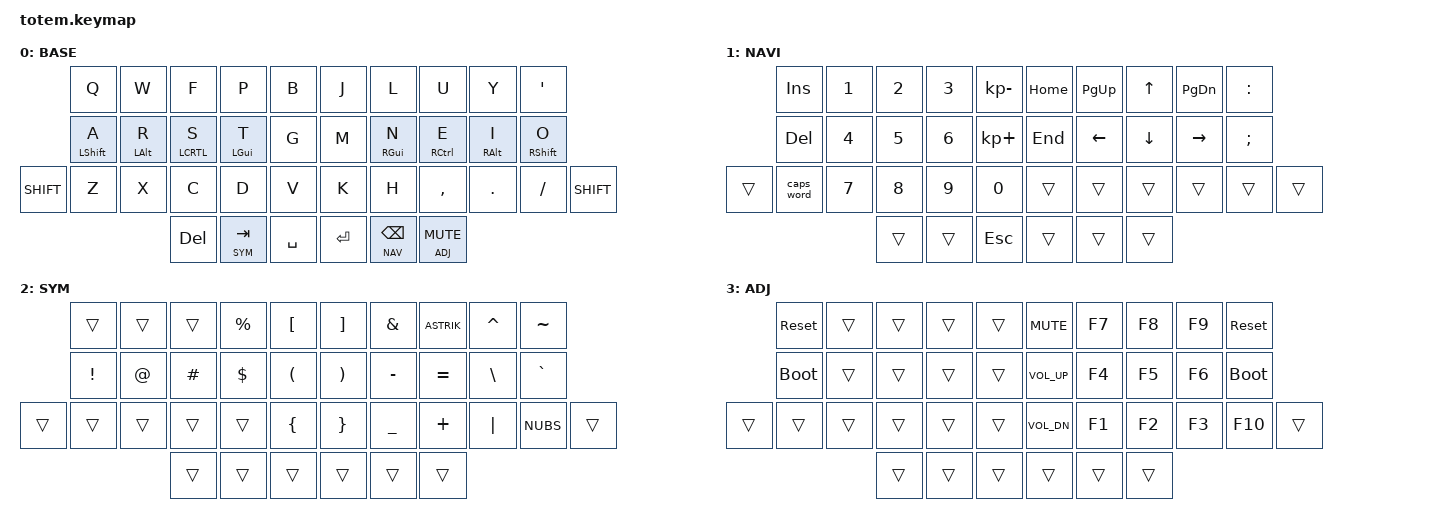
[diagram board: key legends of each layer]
/*
 * Copyright (c) 2023 The ZMK Contributors
 *
 * SPDX-License-Identifier: MIT
 */
//
//                                                        ▀▀▀▀▀     ▀▀▀▀▀          ▀▀█▀▀
//                                                        ▄▀▀▀▄  ▄  ▄▀▀▀▄  ▄  ▄▀▀▀▄  █  ▄▀▀▀▄
//                                                        █   █  █  █   █  █  █   █  █  █   █
//                                                         ▀▀▀   █   ▀▀▀   █   ▀▀▀   ▀   ▀▀▀
//                                                               █      ▄▄▄█▄▄▄    █   █  
//                                                               ▀      █  █  █     █▄█
//                                                             ▀▀▀▀▀    █  █  █      ▀
//                                                                      ▀  ▀  ▀
//
// ▄▄▄▄▄▄▄▄▄▄▄▄▄▄▄▄▄▄▄▄▄▄▄▄▄▄▄▄▄▄▄▄▄▄▄▄▄▄▄▄▄▄▄▄▄▄▄▄▄▄▄▄▄▄▄▄▄▄▄▄▄▄▄▄▄▄▄▄▄▄▄▄▄▄▄▄▄▄▄▄▄▄▄▄▄▄▄▄▄▄▄▄▄▄▄▄▄▄▄▄▄▄▄▄▄▄▄▄▄▄▄▄▄▄▄▄▄▄▄▄▄▄▄▄▄▄▄▄▄▄▄▄▄▄▄▄▄▄▄▄▄▄▄▄▄▄▄▄▄
       
// This is the template, you don't need to change this

#include <behaviors.dtsi>
#include <dt-bindings/zmk/keys.h>
#include <dt-bindings/zmk/bt.h>
#include <dt-bindings/zmk/outputs.h>

#define BASE 0
#define NAV  1
#define SYM  2
#define ADJ  3

&mt {
    quick-tap-ms = <100>;
    global-quick-tap;
    flavor = "tap-preferred";
    tapping-term-ms = <170>;
};

/ {
    /* ===================== COMBOS ===================== */
    combos {
        compatible = "zmk,combos";

        combo_esc {
            timeout-ms = <50>;
            key-positions = <0 1>;
            bindings = <&kp ESC>;
        };

        combo_undo {
            timeout-ms = <50>;
            key-positions = <21 22>;
            bindings = <&kp LC(Z)>;
        };
        combo_copy {
            timeout-ms = <50>;
            key-positions = <22 23>;
            bindings = <&kp LC(C)>;
        };
        combo_paste {
            timeout-ms = <50>;
            key-positions = <23 24>;
            bindings = <&kp LC(V)>;
        };
        combo_cut {
            timeout-ms = <50>;
            key-positions = <22 24>;
            bindings = <&kp LC(X)>;
        };
    };

    /* ===================== BEHAVIORS ===================== */
    behaviors {
        hm: homerow_mods {
            compatible = "zmk,behavior-hold-tap";
            #binding-cells = <2>;
            tapping-term-ms = <200>;
            flavor = "tap-preferred";
            bindings = <&kp>, <&kp>;
        };

        hs: homerow_shift {
            compatible = "zmk,behavior-hold-tap";
            #binding-cells = <2>;
            tapping-term-ms = <175>;
            flavor = "balanced";
            bindings = <&kp>, <&kp>;
        };
    };


        keymap {
                compatible = "zmk,keymap";
// ▄▄▄▄▄▄▄▄▄▄▄▄▄▄▄▄▄▄▄▄▄▄▄▄▄▄▄▄▄▄▄▄▄▄▄▄▄▄▄▄▄▄▄▄▄▄▄▄▄▄▄▄▄▄▄▄▄▄▄▄▄▄▄▄▄▄▄▄▄▄▄▄▄▄▄▄▄▄▄▄▄▄▄▄▄▄▄▄▄▄▄▄▄▄▄▄▄▄▄▄▄▄▄▄▄▄▄▄▄▄▄▄▄▄▄▄▄▄▄▄▄▄▄▄▄▄▄▄▄▄▄▄▄▄▄▄▄▄▄▄▄▄▄▄▄▄▄▄▄

                base_layer {
// ┏━━━━━━━━━━━━━━━━━━━━━━━━━━━━━━━━━━━━━━━┓
label= "BASE"                              ;
// ┗━━━━━━━━━━━━━━━━━━━━━━━━━━━━━━━━━━━━━━━┛
//             ┏━━━━━━━━━━━┳━━━━━━━━━━━┳━━━━━━━━━━━┳━━━━━━━━━━━┳━━━━━━━━━━━┓   ┏━━━━━━━━━━━┳━━━━━━━━━━━┳━━━━━━━━━━━┳━━━━━━━━━━━┳━━━━━━━━━━━┓
//             ┃     Q     ┃     W     ┃     F     ┃     P     ┃     G     ┃   ┃     J     ┃     L     ┃     U     ┃     Y     ┃     ;     ┃
//             ┣━━━━━━━━━━━╋━━━━━━━━━━━╋━━━━━━━━━━━╋━━━━━━━━━━━╋━━━━━━━━━━━┫   ┣━━━━━━━━━━━╋━━━━━━━━━━━╋━━━━━━━━━━━╋━━━━━━━━━━━╋━━━━━━━━━━━┫
//             ┃     A     ┃     R     ┃     S     ┃     T     ┃     D     ┃   ┃     H     ┃     N     ┃     E     ┃     I     ┃     O     ┃
// ┏━━━━━━━━━━━╋━━━━━━━━━━━╋━━━━━━━━━━━╋━━━━━━━━━━━╋━━━━━━━━━━━╋━━━━━━━━━━━┫   ┣━━━━━━━━━━━╋━━━━━━━━━━━╋━━━━━━━━━━━╋━━━━━━━━━━━╋━━━━━━━━━━━╋━━━━━━━━━━━┓
// ┃     Q     ┃     Z     ┃     X     ┃     C     ┃     V     ┃     B     ┃   ┃     K     ┃     M     ┃     ,     ┃     .     ┃     /     ┃           ┃
// ┗━━━━━━━━━━━┻━━━━━━━━━━━┻━━━━━━━━━━━╋━━━━━━━━━━━╋━━━━━━━━━━━╋━━━━━━━━━━━┫   ┣━━━━━━━━━━━╋━━━━━━━━━━━╋━━━━━━━━━━━╋━━━━━━━━━━━┻━━━━━━━━━━━┻━━━━━━━━━━━┛
//                                     ┃           ┃    TAB    ┃    SPC    ┃   ┃   ENTER   ┃   BSPC    ┃           ┃
//                                     ┗━━━━━━━━━━━┻━━━━━━━━━━━┻━━━━━━━━━━━┛   ┗━━━━━━━━━━━┻━━━━━━━━━━━┻━━━━━━━━━━━┛
 bindings = <
// ╷           ╷           ╷           ╷           ╷           ╷           ╷   ╷           ╷           ╷           ╷           ╷           ╷           ╷

                &kp Q        &kp W       &kp F       &kp P      &kp B           &kp J       &kp L       &kp U       &kp Y       &kp SQT
                &hs LSHIFT A &hm LALT R  &hm LCRTL S &hm LGUI T  &kp G           &kp M       &hm RGUI N  &hm RCTRL E &hm RALT I  &hs RSHIFT O
    &kp SHIFT   &kp Z        &kp X       &kp C       &kp D       &kp V           &kp K      &kp H       &kp COMMA   &kp DOT     &kp FSLH    &kp SHIFT
                                         &kp DEL &lt SYM TAB     &kp SPACE       &kp RET     &lt NAV BSPC    &lt ADJ C_MUTE
                        >;
                };

// ▄▄▄▄▄▄▄▄▄▄▄▄▄▄▄▄▄▄▄▄▄▄▄▄▄▄▄▄▄▄▄▄▄▄▄▄▄▄▄▄▄▄▄▄▄▄▄▄▄▄▄▄▄▄▄▄▄▄▄▄▄▄▄▄▄▄▄▄▄▄▄▄▄▄▄▄▄▄▄▄▄▄▄▄▄▄▄▄▄▄▄▄▄▄▄▄▄▄▄▄▄▄▄▄▄▄▄▄▄▄▄▄▄▄▄▄▄▄▄▄▄▄▄▄▄▄▄▄▄▄▄▄▄▄▄▄▄▄▄▄▄▄▄▄▄▄▄▄▄


                nav_layer {
// ┏━━━━━━━━━━━━━━━━━━━━━━━━━━━━━━━━━━━━━━━┓
label= "NAVI"                              ;
// ┗━━━━━━━━━━━━━━━━━━━━━━━━━━━━━━━━━━━━━━━┛
//             ┏━━━━━━━━━━━┳━━━━━━━━━━━┳━━━━━━━━━━━┳━━━━━━━━━━━┳━━━━━━━━━━━┓   ┏━━━━━━━━━━━┳━━━━━━━━━━━┳━━━━━━━━━━━┳━━━━━━━━━━━┳━━━━━━━━━━━┓
//             ┃           ┃           ┃     UP    ┃           ┃     {     ┃   ┃     }     ┃     7     ┃     8     ┃     9     ┃     +     ┃
//             ┣━━━━━━━━━━━╋━━━━━━━━━━━╋━━━━━━━━━━━╋━━━━━━━━━━━╋━━━━━━━━━━━┫   ┣━━━━━━━━━━━╋━━━━━━━━━━━╋━━━━━━━━━━━╋━━━━━━━━━━━╋━━━━━━━━━━━┫
//             ┃   SHIFT   ┃   LEFT    ┃    DOWN   ┃   RIGHT   ┃     [     ┃   ┃     ]     ┃     4     ┃     5     ┃     6     ┃     -     ┃
// ┏━━━━━━━━━━━╋━━━━━━━━━━━╋━━━━━━━━━━━╋━━━━━━━━━━━╋━━━━━━━━━━━╋━━━━━━━━━━━┫   ┣━━━━━━━━━━━╋━━━━━━━━━━━╋━━━━━━━━━━━╋━━━━━━━━━━━╋━━━━━━━━━━━╋━━━━━━━━━━━┓
// ┃           ┃           ┃   P UP    ┃  C LOCK   ┃  P DOWN   ┃     (     ┃   ┃     )     ┃     1     ┃     2     ┃     3     ┃     *     ┃           ┃
// ┗━━━━━━━━━━━┻━━━━━━━━━━━┻━━━━━━━━━━━╋━━━━━━━━━━━╋━━━━━━━━━━━╋━━━━━━━━━━━┫   ┣━━━━━━━━━━━╋━━━━━━━━━━━╋━━━━━━━━━━━╋━━━━━━━━━━━┻━━━━━━━━━━━┻━━━━━━━━━━━┛
//                                     ┃           ┃    TAB    ┃    SPC    ┃   ┃    DEL    ┃     0     ┃           ┃
//                                     ┗━━━━━━━━━━━┻━━━━━━━━━━━┻━━━━━━━━━━━┛   ┗━━━━━━━━━━━┻━━━━━━━━━━━┻━━━━━━━━━━━┛
 bindings = <
// ╷           ╷           ╷           ╷           ╷           ╷           ╷   ╷           ╷           ╷           ╷           ╷           ╷           ╷

                &kp INSERT  &kp N1  &kp N2    &kp N3   &kp KP_MINUS    &kp HOME    &kp PG_UP   &kp UP      &kp PG_DN   &kp COLON
                &kp DELETE  &kp N4  &kp N5    &kp N6   &kp KP_PLUS     &kp END     &kp LEFT    &kp DOWN    &kp RIGHT   &kp SEMI
    &trans      &caps_word  &kp N7  &kp N8    &kp N9   &kp N0       &trans      &trans      &trans      &trans      &trans     &trans      
                                       &trans      &trans      &kp ESC         &trans      &trans      &trans      
                        >;
                };

// ▄▄▄▄▄▄▄▄▄▄▄▄▄▄▄▄▄▄▄▄▄▄▄▄▄▄▄▄▄▄▄▄▄▄▄▄▄▄▄▄▄▄▄▄▄▄▄▄▄▄▄▄▄▄▄▄▄▄▄▄▄▄▄▄▄▄▄▄▄▄▄▄▄▄▄▄▄▄▄▄▄▄▄▄▄▄▄▄▄▄▄▄▄▄▄▄▄▄▄▄▄▄▄▄▄▄▄▄▄▄▄▄▄▄▄▄▄▄▄▄▄▄▄▄▄▄▄▄▄▄▄▄▄▄▄▄▄▄▄▄▄▄▄▄▄▄▄▄▄


                sim_layer {
// ┏━━━━━━━━━━━━━━━━━━━━━━━━━━━━━━━━━━━━━━━┓
label= "SYM"                               ;
// ┗━━━━━━━━━━━━━━━━━━━━━━━━━━━━━━━━━━━━━━━┛
//             ┏━━━━━━━━━━━┳━━━━━━━━━━━┳━━━━━━━━━━━┳━━━━━━━━━━━┳━━━━━━━━━━━┓   ┏━━━━━━━━━━━┳━━━━━━━━━━━┳━━━━━━━━━━━┳━━━━━━━━━━━┳━━━━━━━━━━━┓
//             ┃     !     ┃     @     ┃     #     ┃     $     ┃     %     ┃   ┃     ˆ     ┃     &     ┃     Ü     ┃     '     ┃     "     ┃
//             ┣━━━━━━━━━━━╋━━━━━━━━━━━╋━━━━━━━━━━━╋━━━━━━━━━━━╋━━━━━━━━━━━┫   ┣━━━━━━━━━━━╋━━━━━━━━━━━╋━━━━━━━━━━━╋━━━━━━━━━━━╋━━━━━━━━━━━┫
//             ┃     Ä     ┃           ┃    SZ     ┃           ┃           ┃   ┃   MUTE    ┃   YEN     ┃   EURO    ┃  POUND    ┃     Ö     ┃
// ┏━━━━━━━━━━━╋━━━━━━━━━━━╋━━━━━━━━━━━╋━━━━━━━━━━━╋━━━━━━━━━━━╋━━━━━━━━━━━┫   ┣━━━━━━━━━━━╋━━━━━━━━━━━╋━━━━━━━━━━━╋━━━━━━━━━━━╋━━━━━━━━━━━╋━━━━━━━━━━━┓
// ┃           ┃  EMAIL1   ┃  EMAIL2   ┃           ┃           ┃           ┃   ┃   VOL-    ┃   VOL+    ┃   LAST    ┃   NEXT    ┃     \     ┃           ┃
// ┗━━━━━━━━━━━┻━━━━━━━━━━━┻━━━━━━━━━━━╋━━━━━━━━━━━╋━━━━━━━━━━━╋━━━━━━━━━━━┫   ┣━━━━━━━━━━━╋━━━━━━━━━━━╋━━━━━━━━━━━╋━━━━━━━━━━━┻━━━━━━━━━━━┻━━━━━━━━━━━┛
//                                     ┃           ┃    GIF    ┃    ADJ    ┃   ┃           ┃           ┃           ┃
//                                     ┗━━━━━━━━━━━┻━━━━━━━━━━━┻━━━━━━━━━━━┛   ┗━━━━━━━━━━━┻━━━━━━━━━━━┻━━━━━━━━━━━┛
 bindings = <
// ╷           ╷           ╷           ╷           ╷           ╷           ╷   ╷           ╷           ╷           ╷           ╷           ╷           ╷

                &trans      &trans    &trans   &kp PRCNT  &kp LBKT       &kp RBKT   &kp AMPS  &kp ASTRIK &kp CARET &kp TILDE       
                &kp EXCL    &kp AT    &kp HASH &kp DLLR   &kp LPAR       &kp RPAR   &kp MINUS &kp EQUAL  &kp BSLH  &kp GRAVE 
    &trans      &trans      &trans    &trans   &trans     &kp LBRC       &kp RBRC   &kp UNDER &kp PLUS   &kp PIPE  &kp NUBS    &trans         
                                      &trans   &trans     &trans         &trans     &trans  &trans      
                        >;
                };

// ▄▄▄▄▄▄▄▄▄▄▄▄▄▄▄▄▄▄▄▄▄▄▄▄▄▄▄▄▄▄▄▄▄▄▄▄▄▄▄▄▄▄▄▄▄▄▄▄▄▄▄▄▄▄▄▄▄▄▄▄▄▄▄▄▄▄▄▄▄▄▄▄▄▄▄▄▄▄▄▄▄▄▄▄▄▄▄▄▄▄▄▄▄▄▄▄▄▄▄▄▄▄▄▄▄▄▄▄▄▄▄▄▄▄▄▄▄▄▄▄▄▄▄▄▄▄▄▄▄▄▄▄▄▄▄▄▄▄▄▄▄▄▄▄▄▄▄▄▄


                adjust_layer {
// ┏━━━━━━━━━━━━━━━━━━━━━━━━━━━━━━━━━━━━━━━┓
label= "ADJ"                               ;
// ┗━━━━━━━━━━━━━━━━━━━━━━━━━━━━━━━━━━━━━━━┛
//             ┏━━━━━━━━━━━┳━━━━━━━━━━━┳━━━━━━━━━━━┳━━━━━━━━━━━┳━━━━━━━━━━━┓   ┏━━━━━━━━━━━┳━━━━━━━━━━━┳━━━━━━━━━━━┳━━━━━━━━━━━┳━━━━━━━━━━━┓
//             ┃   RESET   ┃ BT CLEAR  ┃  OUT TOG  ┃           ┃           ┃   ┃           ┃    F7     ┃    F8     ┃    F9     ┃    F12    ┃
//             ┣━━━━━━━━━━━╋━━━━━━━━━━━╋━━━━━━━━━━━╋━━━━━━━━━━━╋━━━━━━━━━━━┫   ┣━━━━━━━━━━━╋━━━━━━━━━━━╋━━━━━━━━━━━╋━━━━━━━━━━━╋━━━━━━━━━━━┫
//             ┃ BOOTLOAD  ┃ BT NEXT   ┃           ┃           ┃           ┃   ┃           ┃    F4     ┃    F5     ┃    F6     ┃    F11    ┃
// ┏━━━━━━━━━━━╋━━━━━━━━━━━╋━━━━━━━━━━━╋━━━━━━━━━━━╋━━━━━━━━━━━╋━━━━━━━━━━━┫   ┣━━━━━━━━━━━╋━━━━━━━━━━━╋━━━━━━━━━━━╋━━━━━━━━━━━╋━━━━━━━━━━━╋━━━━━━━━━━━┓
// ┃           ┃           ┃ BT PREV   ┃           ┃           ┃           ┃   ┃           ┃    F1     ┃    F2     ┃    F3     ┃    F10    ┃           ┃
// ┗━━━━━━━━━━━┻━━━━━━━━━━━┻━━━━━━━━━━━╋━━━━━━━━━━━╋━━━━━━━━━━━╋━━━━━━━━━━━┫   ┣━━━━━━━━━━━╋━━━━━━━━━━━╋━━━━━━━━━━━╋━━━━━━━━━━━┻━━━━━━━━━━━┻━━━━━━━━━━━┛
//                                     ┃           ┃           ┃           ┃   ┃           ┃           ┃           ┃
//                                     ┗━━━━━━━━━━━┻━━━━━━━━━━━┻━━━━━━━━━━━┛   ┗━━━━━━━━━━━┻━━━━━━━━━━━┻━━━━━━━━━━━┛
 bindings = <
// ╷           ╷           ╷           ╷           ╷           ╷           ╷   ╷           ╷           ╷           ╷           ╷           ╷           ╷

                &sys_reset  &trans      &trans      &trans      &trans      &kp C_MUTE     &kp F7      &kp F8      &kp F9      &sys_reset
                &bootloader &trans      &trans      &trans      &trans      &kp C_VOL_UP   &kp F4      &kp F5      &kp F6      &bootloader  
    &trans      &trans      &trans      &trans  &trans      &trans      &kp C_VOL_DN   &kp F1      &kp F2      &kp F3      &kp F10     &trans         
                                        &trans      &trans      &trans            &trans         &trans      &trans      
                        >;
                };
        };
};
